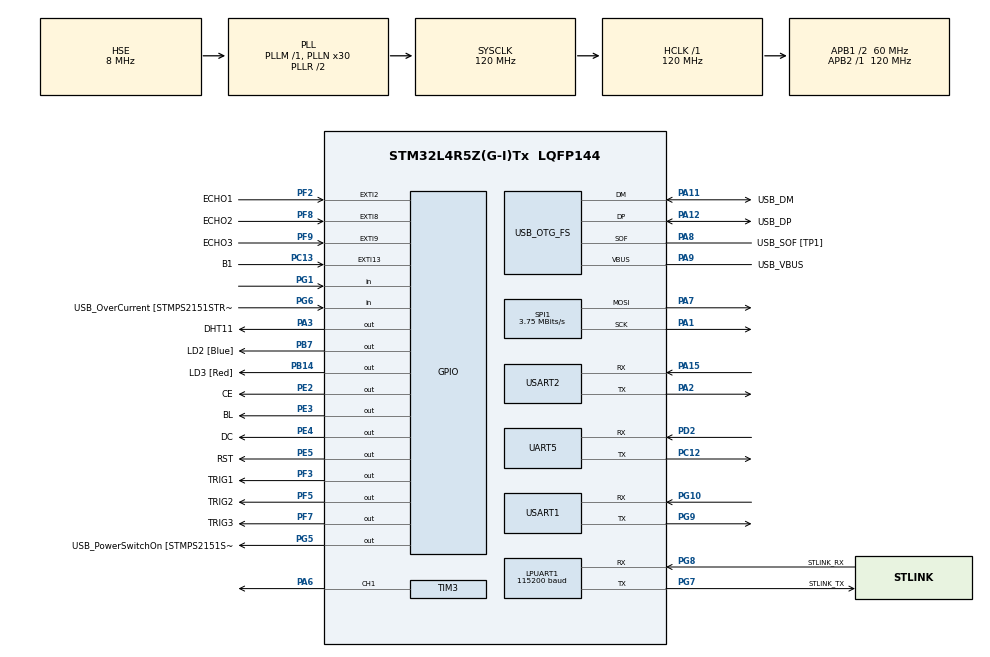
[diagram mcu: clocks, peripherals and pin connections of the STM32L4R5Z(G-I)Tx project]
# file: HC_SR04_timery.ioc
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FREERTOS.Tasks01=HC_SR04,0,128,hc_sr04_measure,Default,NULL,Dynamic,NULL,NULL;LCD_buzzer,-3,128,display_pii,Default,NULL,Dynamic,NULL,NULL;Buzzer,-3,128,buzzer_work,Default,NULL,Dynamic,NULL,NULL;DHT11,2,128,dht11_measure,Default,NULL,Dynamic,NULL,NULL
LPUART1.BaudRate=115200
LPUART1.WordLength=UART_WORDLENGTH_8B
Mcu.Family=STM32L4
Mcu.Name=STM32L4R5Z(G-I)Tx
Mcu.Package=LQFP144
NVIC.PriorityGroup=NVIC_PRIORITYGROUP_4
NVIC.TIM6_DAC_IRQn=true\:0\:0\:false\:false\:true\:false\:false\:true
NVIC.TIM7_IRQn=true\:0\:0\:false\:false\:true\:true\:true\:true
NVIC.TimeBase=TIM6_DAC_IRQn
NVIC.TimeBaseIP=TIM6
PA1.Mode=TX_Only_Simplex_Unidirect_Master
PA1.Signal=SPI1_SCK
PA10.GPIO_Label=USB_ID
PA10.Signal=USB_OTG_FS_ID
PA11.GPIO_Label=USB_DM
PA11.Mode=Device_Only
PA11.Signal=USB_OTG_FS_DM
PA12.GPIO_Label=USB_DP
PA12.Mode=Device_Only
PA12.Signal=USB_OTG_FS_DP
PA13\ (JTMS/SWDIO).GPIO_Label=TMS
PA13\ (JTMS/SWDIO).Mode=Trace_Asynchronous_SW
PA13\ (JTMS/SWDIO).Signal=SYS_JTMS-SWDIO
PA14\ (JTCK/SWCLK).GPIO_Label=TCK
PA14\ (JTCK/SWCLK).Mode=Trace_Asynchronous_SW
PA14\ (JTCK/SWCLK).Signal=SYS_JTCK-SWCLK
PA15\ (JTDI).Mode=Asynchronous
PA15\ (JTDI).Signal=USART2_RX
PA2.Mode=Asynchronous
PA2.Signal=USART2_TX
PA3.GPIO_Label=DHT11
PA3.Signal=GPIO_Output
PA6.Signal=S_TIM3_CH1
PA7.Mode=TX_Only_Simplex_Unidirect_Master
PA7.Signal=SPI1_MOSI
PA8.GPIO_Label=USB_SOF [TP1]
PA8.Mode=Activate_SOF_FS
PA8.Signal=USB_OTG_FS_SOF
PA9.GPIO_Label=USB_VBUS
PA9.Mode=Activate_VBUS
PA9.Signal=USB_OTG_FS_VBUS
PB14.GPIO_Label=LD3 [Red]
PB14.Signal=GPIO_Output
PB3\ (JTDO/TRACESWO).GPIO_Label=SWO
PB3\ (JTDO/TRACESWO).Mode=Trace_Asynchronous_SW
PB3\ (JTDO/TRACESWO).Signal=SYS_JTDO-SWO
PB7.GPIO_Label=LD2 [Blue]
PB7.Signal=GPIO_Output
PC12.Mode=Asynchronous
PC12.Signal=UART5_TX
PC13.GPIO_Label=B1
PC13.Signal=GPXTI13
PC14-OSC32_IN\ (PC14).Mode=LSE-External-Oscillator
PC14-OSC32_IN\ (PC14).Signal=RCC_OSC32_IN
PC15-OSC32_OUT\ (PC15).Mode=LSE-External-Oscillator
PC15-OSC32_OUT\ (PC15).Signal=RCC_OSC32_OUT
PD2.Mode=Asynchronous
PD2.Signal=UART5_RX
PD8.GPIO_Label=STLK_RX [STM32F103CBT6_PA3]
PD8.Signal=USART3_TX
PD9.GPIO_Label=STLK_TX [STM32F103CBT6_PA2]
PD9.Signal=USART3_RX
PE2.GPIO_Label=CE
PE2.Signal=GPIO_Output
PE3.GPIO_Label=BL
PE3.Signal=GPIO_Output
PE4.GPIO_Label=DC
PE4.Signal=GPIO_Output
PE5.GPIO_Label=RST
PE5.Signal=GPIO_Output
PF2.GPIO_Label=ECHO1
PF2.Signal=GPXTI2
PF3.GPIO_Label=TRIG1
PF3.Signal=GPIO_Output
PF5.GPIO_Label=TRIG2
PF5.Signal=GPIO_Output
PF7.GPIO_Label=TRIG3
PF7.Signal=GPIO_Output
PF8.GPIO_Label=ECHO2
PF8.Signal=GPXTI8
PF9.GPIO_Label=ECHO3
PF9.Signal=GPXTI9
PG1.Signal=GPIO_Input
PG10.Mode=Asynchronous
PG10.Signal=USART1_RX
PG5.GPIO_Label=USB_PowerSwitchOn [STMPS2151STR_EN]
PG5.Signal=GPIO_Output
PG6.GPIO_Label=USB_OverCurrent [STMPS2151STR_FAULT]
PG6.Signal=GPIO_Input
PG7.GPIO_Label=STLINK_TX
PG7.Mode=Asynchronous
PG7.Signal=LPUART1_TX
PG8.GPIO_Label=STLINK_RX
PG8.Mode=Asynchronous
PG8.Signal=LPUART1_RX
PG9.Mode=Asynchronous
PG9.Signal=USART1_TX
PH0-OSC_IN\ (PH0).Mode=HSE-External-Clock-Source
PH0-OSC_IN\ (PH0).Signal=RCC_OSC_IN
PH1-OSC_OUT\ (PH1).Signal=RCC_OSC_OUT
ProjectManager.HeapSize=0x200
ProjectManager.StackSize=0x400
ProjectManager.TargetToolchain=STM32CubeIDE
RCC.48MHZClocksFreq_Value=24000000
RCC.ADCFreq_Value=48000000
RCC.AHBFreq_Value=120000000
RCC.APB1CLKDivider=RCC_HCLK_DIV2
RCC.APB1Freq_Value=60000000
RCC.APB1TimFreq_Value=120000000
RCC.APB2Freq_Value=120000000
RCC.APB2TimFreq_Value=120000000
RCC.CortexFreq_Value=120000000
RCC.HCLKFreq_Value=120000000
RCC.HSE_VALUE=8000000
RCC.HSI48_VALUE=48000000
RCC.HSI_VALUE=16000000
RCC.MSI_VALUE=4000000
RCC.PLLMUL=RCC_PLL_MUL9
RCC.PLLN=30
RCC.PLLSAI1N=12
RCC.PLLSourceVirtual=RCC_PLLSOURCE_HSE
RCC.PRESCALERUSB=RCC_USBCLKSOURCE_PLL_DIV1_5
RCC.SYSCLKFreq_VALUE=120000000
RCC.SYSCLKSource=RCC_SYSCLKSOURCE_PLLCLK
RCC.SYSCLKSourceVirtual=RCC_SYSCLKSOURCE_PLLCLK
RCC.USBFreq_Value=48000000
RCC.VCOOutputFreq_Value=240000000
SH.S_TIM3_CH1.0=TIM3_CH1,PWM Generation1 CH1
SPI1.BaudRatePrescaler=SPI_BAUDRATEPRESCALER_32
SPI1.CalculateBaudRate=3.75 MBits/s
SPI1.DataSize=SPI_DATASIZE_8BIT
SPI1.Direction=SPI_DIRECTION_2LINES
SPI1.Mode=SPI_MODE_MASTER
SPI1.VirtualType=VM_MASTER
TIM1.CounterMode=TIM_COUNTERMODE_DOWN
TIM1.Period=29
TIM1.Prescaler=39
TIM16.ClockDivision=TIM_CLOCKDIVISION_DIV1
TIM16.Period=0xffff-1
TIM16.Prescaler=120-1
TIM2.Period=0xffff-1
TIM2.Prescaler=120-1
TIM3.Channel-PWM\ Generation1\ CH1=TIM_CHANNEL_1
TIM3.Period=254
TIM3.Prescaler=1845
TIM7.Period=0
TIM7.Prescaler=120-1
USART1.VirtualMode-Asynchronous=VM_ASYNC
USART2.VirtualMode-Asynchronous=VM_ASYNC
USB_OTG_FS.VirtualMode=Device_Only
VP_FREERTOS_VS_CMSIS_V1.Mode=CMSIS_V1
VP_SYS_VS_tim6.Mode=TIM6
VP_TIM16_VS_ClockSourceINT.Mode=Enable_Timer
VP_TIM1_VS_OPM.Mode=OPM_bit
VP_TIM2_VS_ClockSourceINT.Mode=Internal
VP_TIM3_VS_ClockSourceINT.Mode=Internal
VP_TIM7_VS_ClockSourceINT.Mode=Enable_Timer
board=NUCLEO-L4R5ZI

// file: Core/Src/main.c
/* USER CODE BEGIN Header */
/**
  ******************************************************************************
  * @file           : main.c
  * @brief          : Main program body
  ******************************************************************************
  * @attention
  *
  * <h2><center>&copy; Copyright (c) 2021 STMicroelectronics.
  * All rights reserved.</center></h2>
  *
  * This software component is licensed by ST under BSD 3-Clause license,
  * the "License"; You may not use this file except in compliance with the
  * License. You may obtain a copy of the License at:
  *                        opensource.org/licenses/BSD-3-Clause
  *
  ******************************************************************************
  */
/* USER CODE END Header */
#include "main.h"
#include "cmsis_os.h"

/* USER CODE BEGIN Includes */
#include "hcSensor.h"
#include "lcd.h"
#include "DHT11.h"
#include <stdio.h>
#include <string.h>

/* USER CODE END Includes */

/* USER CODE BEGIN PD */
#define RST_GPIO_Port	GPIOE
#define RESET_Pin		GPIO_PIN_5
#define DC_GPIO_Port	GPIOE
#define DCC_Pin			GPIO_PIN_4
#define BL_GPIO_Port	GPIOE
#define BLL_Pin			GPIO_PIN_3
#define CE_GPIO_Port	GPIOE
#define CEE_Pin			GPIO_PIN_2
/* USER CODE END PD */

/* USER CODE BEGIN PM */
struct lcdConf lcd;

uint64_t mesCenter;
uint64_t mesLeft;
uint64_t mesRight;

uint64_t tmp_mesCenter;
uint64_t tmp_mesLeft;
uint64_t tmp_mesRight;

uint8_t begin;
uint8_t choseSensor;
uint8_t buzzerValue;
uint8_t buzzerCheck;

uint8_t DHT11_calibration;
uint8_t DHT11_tempByte1;
uint16_t DHT11_soundSpeedCali;

/* USER CODE END PM */

UART_HandleTypeDef hlpuart1;
UART_HandleTypeDef huart1;
UART_HandleTypeDef huart5;
UART_HandleTypeDef huart2;

SPI_HandleTypeDef hspi1;

TIM_HandleTypeDef htim1;
TIM_HandleTypeDef htim2;
TIM_HandleTypeDef htim3;
TIM_HandleTypeDef htim7;
TIM_HandleTypeDef htim16;

PCD_HandleTypeDef hpcd_USB_OTG_FS;

osThreadId HC_SR04Handle;
osThreadId LCD_buzzerHandle;
osThreadId BuzzerHandle;
osThreadId DHT11Handle;

void SystemClock_Config(void);
static void MX_GPIO_Init(void);
static void MX_LPUART1_UART_Init(void);
static void MX_USB_OTG_FS_PCD_Init(void);
static void MX_TIM1_Init(void);
static void MX_TIM7_Init(void);
static void MX_SPI1_Init(void);
static void MX_TIM3_Init(void);
static void MX_TIM16_Init(void);
static void MX_TIM2_Init(void);
static void MX_USART2_UART_Init(void);
static void MX_USART1_UART_Init(void);
static void MX_UART5_Init(void);
void hc_sr04_measure(void const * argument);
void display_pii(void const * argument);
void buzzer_work(void const * argument);
void dht11_measure(void const * argument);

/* USER CODE BEGIN 0 */

union wartosc {
	uint8_t temperatura;
	char temperatura2[1];
};

void send_char(char* c)
{
    HAL_UART_Transmit(&hlpuart1, (uint8_t*)c, strlen(c), 1000);
}

void send_char_ready(char c)
{
    HAL_UART_Transmit(&hlpuart1, (uint8_t*)&c, 1, 1000);
}

int __io_putchar(int ch)
{
	if (ch == '\n')
		send_char_ready('\r');
	send_char_ready(ch);
	return ch;
}

/*
void send_char2(char* temp)
{
    //while (__HAL_UART_GET_FLAG(&hlpuart1, UART_FLAG_TXE) == RESET);
	//__HAL_UART_CLEAR_FLAG(&hlpuart1, UART_CLEAR_TXFECF);
    HAL_UART_Transmit(&hlpuart1, (uint8_t*)temp, strlen(temp), 1000);
}

void send_char3(char* c, uint8_t temp)
{
    //while (__HAL_UART_GET_FLAG(&hlpuart1, UART_FLAG_TXE) == RESET);
    HAL_UART_Transmit(&hlpuart1, (uint8_t*)c, strlen(c), 1000);
    HAL_UART_Transmit(&hlpuart1, &temp, 1, 1000);
}*/

/* USER CODE END 0 */

int main(void)
{

  /* MCU Configuration--------------------------------------------------------*/

  /* Reset of all peripherals, Initializes the Flash interface and the Systick. */
  HAL_Init();

  /* Configure the system clock */
  SystemClock_Config();

  /* Initialize all configured peripherals */
  MX_GPIO_Init();
  MX_LPUART1_UART_Init();
  MX_USB_OTG_FS_PCD_Init();
  MX_TIM1_Init();
  MX_TIM7_Init();
  MX_SPI1_Init();
  MX_TIM3_Init();
  MX_TIM16_Init();
  MX_TIM2_Init();
  MX_USART2_UART_Init();
  MX_USART1_UART_Init();
  MX_UART5_Init();
  /* USER CODE BEGIN 2 */

  lcd.spi = &hspi1;
  lcd.rst_port = RST_GPIO_Port;
  lcd.rst_pin = RESET_Pin;
  lcd.dc_port = DC_GPIO_Port;
  lcd.dc_pin = DCC_Pin;
  lcd.bl_port = BL_GPIO_Port;
  lcd.bl_pin = BLL_Pin;
  lcd.ce_port = CE_GPIO_Port;
  lcd.ce_pin = CEE_Pin;

  lcdInit(&lcd);

  /* USER CODE END 2 */

  /* Create the thread(s) */
  /* definition and creation of HC_SR04 */
  osThreadDef(HC_SR04, hc_sr04_measure, osPriorityNormal, 0, 128);
  HC_SR04Handle = osThreadCreate(osThread(HC_SR04), NULL);

  /* definition and creation of LCD_buzzer */
  osThreadDef(LCD_buzzer, display_pii, osPriorityIdle, 0, 128);
  LCD_buzzerHandle = osThreadCreate(osThread(LCD_buzzer), NULL);

  /* definition and creation of Buzzer */
  osThreadDef(Buzzer, buzzer_work, osPriorityIdle, 0, 128);
  BuzzerHandle = osThreadCreate(osThread(Buzzer), NULL);

  /* definition and creation of DHT11 */
  osThreadDef(DHT11, dht11_measure, osPriorityHigh, 0, 128);
  DHT11Handle = osThreadCreate(osThread(DHT11), NULL);

  /* Start scheduler */
  osKernelStart();

  /* We should never get here as control is now taken by the scheduler */
  /* Infinite loop */
  while (1)
  {

  }
}

void SystemClock_Config(void)
{
  RCC_OscInitTypeDef RCC_OscInitStruct = {0};
  RCC_ClkInitTypeDef RCC_ClkInitStruct = {0};
  RCC_PeriphCLKInitTypeDef PeriphClkInit = {0};

  /** Configure the main internal regulator output voltage
  */
  if (HAL_PWREx_ControlVoltageScaling(PWR_REGULATOR_VOLTAGE_SCALE1_BOOST) != HAL_OK)
  {
    Error_Handler();
  }
  /** Initializes the RCC Oscillators according to the specified parameters
  * in the RCC_OscInitTypeDef structure.
  */
  RCC_OscInitStruct.OscillatorType = RCC_OSCILLATORTYPE_HSE;
  RCC_OscInitStruct.HSEState = RCC_HSE_BYPASS;
  RCC_OscInitStruct.PLL.PLLState = RCC_PLL_ON;
  RCC_OscInitStruct.PLL.PLLSource = RCC_PLLSOURCE_HSE;
  RCC_OscInitStruct.PLL.PLLM = 1;
  RCC_OscInitStruct.PLL.PLLN = 30;
  RCC_OscInitStruct.PLL.PLLP = RCC_PLLP_DIV2;
  RCC_OscInitStruct.PLL.PLLQ = RCC_PLLQ_DIV2;
  RCC_OscInitStruct.PLL.PLLR = RCC_PLLR_DIV2;
  if (HAL_RCC_OscConfig(&RCC_OscInitStruct) != HAL_OK)
  {
    Error_Handler();
  }
  /** Initializes the CPU, AHB and APB buses clocks
  */
  RCC_ClkInitStruct.ClockType = RCC_CLOCKTYPE_HCLK|RCC_CLOCKTYPE_SYSCLK
                              |RCC_CLOCKTYPE_PCLK1|RCC_CLOCKTYPE_PCLK2;
  RCC_ClkInitStruct.SYSCLKSource = RCC_SYSCLKSOURCE_PLLCLK;
  RCC_ClkInitStruct.AHBCLKDivider = RCC_SYSCLK_DIV1;
  RCC_ClkInitStruct.APB1CLKDivider = RCC_HCLK_DIV2;
  RCC_ClkInitStruct.APB2CLKDivider = RCC_HCLK_DIV1;

  if (HAL_RCC_ClockConfig(&RCC_ClkInitStruct, FLASH_LATENCY_5) != HAL_OK)
  {
    Error_Handler();
  }
  PeriphClkInit.PeriphClockSelection = RCC_PERIPHCLK_USART1|RCC_PERIPHCLK_USART2
                              |RCC_PERIPHCLK_UART5|RCC_PERIPHCLK_LPUART1
                              |RCC_PERIPHCLK_USB;
  PeriphClkInit.Usart1ClockSelection = RCC_USART1CLKSOURCE_PCLK2;
  PeriphClkInit.Usart2ClockSelection = RCC_USART2CLKSOURCE_PCLK1;
  PeriphClkInit.Uart5ClockSelection = RCC_UART5CLKSOURCE_PCLK1;
  PeriphClkInit.Lpuart1ClockSelection = RCC_LPUART1CLKSOURCE_PCLK1;
  PeriphClkInit.UsbClockSelection = RCC_USBCLKSOURCE_PLLSAI1;
  PeriphClkInit.PLLSAI1.PLLSAI1Source = RCC_PLLSOURCE_HSE;
  PeriphClkInit.PLLSAI1.PLLSAI1M = 1;
  PeriphClkInit.PLLSAI1.PLLSAI1N = 12;
  PeriphClkInit.PLLSAI1.PLLSAI1P = RCC_PLLP_DIV2;
  PeriphClkInit.PLLSAI1.PLLSAI1Q = RCC_PLLQ_DIV2;
  PeriphClkInit.PLLSAI1.PLLSAI1R = RCC_PLLR_DIV2;
  PeriphClkInit.PLLSAI1.PLLSAI1ClockOut = RCC_PLLSAI1_48M2CLK;
  if (HAL_RCCEx_PeriphCLKConfig(&PeriphClkInit) != HAL_OK)
  {
    Error_Handler();
  }
}

static void MX_LPUART1_UART_Init(void)
{

  hlpuart1.Instance = LPUART1;
  hlpuart1.Init.BaudRate = 115200;
  hlpuart1.Init.WordLength = UART_WORDLENGTH_8B;
  hlpuart1.Init.StopBits = UART_STOPBITS_1;
  hlpuart1.Init.Parity = UART_PARITY_NONE;
  hlpuart1.Init.Mode = UART_MODE_TX_RX;
  hlpuart1.Init.HwFlowCtl = UART_HWCONTROL_NONE;
  hlpuart1.Init.OneBitSampling = UART_ONE_BIT_SAMPLE_DISABLE;
  hlpuart1.Init.ClockPrescaler = UART_PRESCALER_DIV1;
  hlpuart1.AdvancedInit.AdvFeatureInit = UART_ADVFEATURE_NO_INIT;
  hlpuart1.FifoMode = UART_FIFOMODE_DISABLE;
  if (HAL_UART_Init(&hlpuart1) != HAL_OK)
  {
    Error_Handler();
  }
  if (HAL_UARTEx_SetTxFifoThreshold(&hlpuart1, UART_TXFIFO_THRESHOLD_1_8) != HAL_OK)
  {
    Error_Handler();
  }
  if (HAL_UARTEx_SetRxFifoThreshold(&hlpuart1, UART_RXFIFO_THRESHOLD_1_8) != HAL_OK)
  {
    Error_Handler();
  }
  if (HAL_UARTEx_DisableFifoMode(&huart1) != HAL_OK)
  {
    Error_Handler();
  }

}

static void MX_UART5_Init(void)
{

  huart5.Instance = UART5;
  huart5.Init.BaudRate = 115200;
  huart5.Init.WordLength = UART_WORDLENGTH_8B;
  huart5.Init.StopBits = UART_STOPBITS_1;
  huart5.Init.Parity = UART_PARITY_NONE;
  huart5.Init.Mode = UART_MODE_TX_RX;
  huart5.Init.HwFlowCtl = UART_HWCONTROL_NONE;
  huart5.Init.OverSampling = UART_OVERSAMPLING_16;
  huart5.Init.OneBitSampling = UART_ONE_BIT_SAMPLE_DISABLE;
  huart5.Init.ClockPrescaler = UART_PRESCALER_DIV1;
  huart5.AdvancedInit.AdvFeatureInit = UART_ADVFEATURE_NO_INIT;
  if (HAL_UART_Init(&huart5) != HAL_OK)
  {
    Error_Handler();
  }
  if (HAL_UARTEx_SetTxFifoThreshold(&huart5, UART_TXFIFO_THRESHOLD_1_8) != HAL_OK)
  {
    Error_Handler();
  }
  if (HAL_UARTEx_SetRxFifoThreshold(&huart5, UART_RXFIFO_THRESHOLD_1_8) != HAL_OK)
  {
    Error_Handler();
  }
  if (HAL_UARTEx_DisableFifoMode(&huart5) != HAL_OK)
  {
    Error_Handler();
  }

}

static void MX_USART1_UART_Init(void)
{

  huart1.Instance = USART1;
  huart1.Init.BaudRate = 115200;
  huart1.Init.WordLength = UART_WORDLENGTH_8B;
  huart1.Init.StopBits = UART_STOPBITS_1;
  huart1.Init.Parity = UART_PARITY_NONE;
  huart1.Init.Mode = UART_MODE_TX_RX;
  huart1.Init.HwFlowCtl = UART_HWCONTROL_NONE;
  huart1.Init.OverSampling = UART_OVERSAMPLING_16;
  huart1.Init.OneBitSampling = UART_ONE_BIT_SAMPLE_DISABLE;
  huart1.Init.ClockPrescaler = UART_PRESCALER_DIV1;
  huart1.AdvancedInit.AdvFeatureInit = UART_ADVFEATURE_NO_INIT;
  if (HAL_UART_Init(&huart1) != HAL_OK)
  {
    Error_Handler();
  }
  if (HAL_UARTEx_SetTxFifoThreshold(&huart1, UART_TXFIFO_THRESHOLD_1_8) != HAL_OK)
  {
    Error_Handler();
  }
  if (HAL_UARTEx_SetRxFifoThreshold(&huart1, UART_RXFIFO_THRESHOLD_1_8) != HAL_OK)
  {
    Error_Handler();
  }
  if (HAL_UARTEx_DisableFifoMode(&huart1) != HAL_OK)
  {
    Error_Handler();
  }

}

static void MX_USART2_UART_Init(void)
{

  huart2.Instance = USART2;
  huart2.Init.BaudRate = 115200;
  huart2.Init.WordLength = UART_WORDLENGTH_8B;
  huart2.Init.StopBits = UART_STOPBITS_1;
  huart2.Init.Parity = UART_PARITY_NONE;
  huart2.Init.Mode = UART_MODE_TX_RX;
  huart2.Init.HwFlowCtl = UART_HWCONTROL_NONE;
  huart2.Init.OverSampling = UART_OVERSAMPLING_16;
  huart2.Init.OneBitSampling = UART_ONE_BIT_SAMPLE_DISABLE;
  huart2.Init.ClockPrescaler = UART_PRESCALER_DIV1;
  huart2.AdvancedInit.AdvFeatureInit = UART_ADVFEATURE_NO_INIT;
  if (HAL_UART_Init(&huart2) != HAL_OK)
  {
    Error_Handler();
  }
  if (HAL_UARTEx_SetTxFifoThreshold(&huart2, UART_TXFIFO_THRESHOLD_1_8) != HAL_OK)
  {
    Error_Handler();
  }
  if (HAL_UARTEx_SetRxFifoThreshold(&huart2, UART_RXFIFO_THRESHOLD_1_8) != HAL_OK)
  {
    Error_Handler();
  }
  if (HAL_UARTEx_DisableFifoMode(&huart2) != HAL_OK)
  {
    Error_Handler();
  }

}

static void MX_SPI1_Init(void)
{

  /* SPI1 parameter configuration*/
  hspi1.Instance = SPI1;
  hspi1.Init.Mode = SPI_MODE_MASTER;
  hspi1.Init.Direction = SPI_DIRECTION_2LINES;
  hspi1.Init.DataSize = SPI_DATASIZE_8BIT;
  hspi1.Init.CLKPolarity = SPI_POLARITY_LOW;
  hspi1.Init.CLKPhase = SPI_PHASE_1EDGE;
  hspi1.Init.NSS = SPI_NSS_SOFT;
  hspi1.Init.BaudRatePrescaler = SPI_BAUDRATEPRESCALER_32;
  hspi1.Init.FirstBit = SPI_FIRSTBIT_MSB;
  hspi1.Init.TIMode = SPI_TIMODE_DISABLE;
  hspi1.Init.CRCCalculation = SPI_CRCCALCULATION_DISABLE;
  hspi1.Init.CRCPolynomial = 7;
  hspi1.Init.CRCLength = SPI_CRC_LENGTH_DATASIZE;
  hspi1.Init.NSSPMode = SPI_NSS_PULSE_ENABLE;
  if (HAL_SPI_Init(&hspi1) != HAL_OK)
  {
    Error_Handler();
  }

}

static void MX_TIM1_Init(void)
{

  htim1.Instance = TIM1;
  htim1.Init.Prescaler = 39;
  htim1.Init.CounterMode = TIM_COUNTERMODE_DOWN;
  htim1.Init.Period = 29;
  htim1.Init.ClockDivision = TIM_CLOCKDIVISION_DIV1;
  htim1.Init.RepetitionCounter = 0;
  htim1.Init.AutoReloadPreload = TIM_AUTORELOAD_PRELOAD_DISABLE;
  if (HAL_TIM_OnePulse_Init(&htim1, TIM_OPMODE_SINGLE) != HAL_OK)
  {
    Error_Handler();
  }

}

static void MX_TIM2_Init(void)
{

  TIM_ClockConfigTypeDef sClockSourceConfig = {0};
  TIM_MasterConfigTypeDef sMasterConfig = {0};

  htim2.Instance = TIM2;
  htim2.Init.Prescaler = 120-1;
  htim2.Init.CounterMode = TIM_COUNTERMODE_UP;
  htim2.Init.Period = 0xffff-1;
  htim2.Init.ClockDivision = TIM_CLOCKDIVISION_DIV1;
  htim2.Init.AutoReloadPreload = TIM_AUTORELOAD_PRELOAD_DISABLE;
  if (HAL_TIM_Base_Init(&htim2) != HAL_OK)
  {
    Error_Handler();
  }
  sClockSourceConfig.ClockSource = TIM_CLOCKSOURCE_INTERNAL;
  if (HAL_TIM_ConfigClockSource(&htim2, &sClockSourceConfig) != HAL_OK)
  {
    Error_Handler();
  }
  sMasterConfig.MasterOutputTrigger = TIM_TRGO_RESET;
  sMasterConfig.MasterSlaveMode = TIM_MASTERSLAVEMODE_DISABLE;
  if (HAL_TIMEx_MasterConfigSynchronization(&htim2, &sMasterConfig) != HAL_OK)
  {
    Error_Handler();
  }

}

static void MX_TIM3_Init(void)
{

  TIM_ClockConfigTypeDef sClockSourceConfig = {0};
  TIM_MasterConfigTypeDef sMasterConfig = {0};
  TIM_OC_InitTypeDef sConfigOC = {0};

  htim3.Instance = TIM3;
  htim3.Init.Prescaler = 1845;
  htim3.Init.CounterMode = TIM_COUNTERMODE_UP;
  htim3.Init.Period = 254;
  htim3.Init.ClockDivision = TIM_CLOCKDIVISION_DIV1;
  htim3.Init.AutoReloadPreload = TIM_AUTORELOAD_PRELOAD_DISABLE;
  if (HAL_TIM_Base_Init(&htim3) != HAL_OK)
  {
    Error_Handler();
  }
  sClockSourceConfig.ClockSource = TIM_CLOCKSOURCE_INTERNAL;
  if (HAL_TIM_ConfigClockSource(&htim3, &sClockSourceConfig) != HAL_OK)
  {
    Error_Handler();
  }
  if (HAL_TIM_PWM_Init(&htim3) != HAL_OK)
  {
    Error_Handler();
  }
  sMasterConfig.MasterOutputTrigger = TIM_TRGO_RESET;
  sMasterConfig.MasterSlaveMode = TIM_MASTERSLAVEMODE_DISABLE;
  if (HAL_TIMEx_MasterConfigSynchronization(&htim3, &sMasterConfig) != HAL_OK)
  {
    Error_Handler();
  }
  sConfigOC.OCMode = TIM_OCMODE_PWM1;
  sConfigOC.Pulse = 0;
  sConfigOC.OCPolarity = TIM_OCPOLARITY_HIGH;
  sConfigOC.OCFastMode = TIM_OCFAST_DISABLE;
  if (HAL_TIM_PWM_ConfigChannel(&htim3, &sConfigOC, TIM_CHANNEL_1) != HAL_OK)
  {
    Error_Handler();
  }
  HAL_TIM_MspPostInit(&htim3);

}

static void MX_TIM7_Init(void)
{

  TIM_MasterConfigTypeDef sMasterConfig = {0};

  htim7.Instance = TIM7;
  htim7.Init.Prescaler = 120-1;
  htim7.Init.CounterMode = TIM_COUNTERMODE_UP;
  htim7.Init.Period = 0;
  htim7.Init.AutoReloadPreload = TIM_AUTORELOAD_PRELOAD_DISABLE;
  if (HAL_TIM_Base_Init(&htim7) != HAL_OK)
  {
    Error_Handler();
  }
  sMasterConfig.MasterOutputTrigger = TIM_TRGO_RESET;
  sMasterConfig.MasterSlaveMode = TIM_MASTERSLAVEMODE_DISABLE;
  if (HAL_TIMEx_MasterConfigSynchronization(&htim7, &sMasterConfig) != HAL_OK)
  {
    Error_Handler();
  }

}

static void MX_TIM16_Init(void)
{

  htim16.Instance = TIM16;
  htim16.Init.Prescaler = 120-1;
  htim16.Init.CounterMode = TIM_COUNTERMODE_UP;
  htim16.Init.Period = 0xffff-1;
  htim16.Init.ClockDivision = TIM_CLOCKDIVISION_DIV1;
  htim16.Init.RepetitionCounter = 0;
  htim16.Init.AutoReloadPreload = TIM_AUTORELOAD_PRELOAD_DISABLE;
  if (HAL_TIM_Base_Init(&htim16) != HAL_OK)
  {
    Error_Handler();
  }

}

static void MX_USB_OTG_FS_PCD_Init(void)
{

  hpcd_USB_OTG_FS.Instance = USB_OTG_FS;
  hpcd_USB_OTG_FS.Init.dev_endpoints = 6;
  hpcd_USB_OTG_FS.Init.phy_itface = PCD_PHY_EMBEDDED;
  hpcd_USB_OTG_FS.Init.Sof_enable = ENABLE;
  hpcd_USB_OTG_FS.Init.low_power_enable = DISABLE;
  hpcd_USB_OTG_FS.Init.lpm_enable = DISABLE;
  hpcd_USB_OTG_FS.Init.battery_charging_enable = ENABLE;
  hpcd_USB_OTG_FS.Init.use_dedicated_ep1 = DISABLE;
  hpcd_USB_OTG_FS.Init.vbus_sensing_enable = ENABLE;
  if (HAL_PCD_Init(&hpcd_USB_OTG_FS) != HAL_OK)
  {
    Error_Handler();
  }

}

static void MX_GPIO_Init(void)
{
  GPIO_InitTypeDef GPIO_InitStruct = {0};

  /* GPIO Ports Clock Enable */
  __HAL_RCC_GPIOE_CLK_ENABLE();
  __HAL_RCC_GPIOC_CLK_ENABLE();
  __HAL_RCC_GPIOF_CLK_ENABLE();
  __HAL_RCC_GPIOH_CLK_ENABLE();
  __HAL_RCC_GPIOA_CLK_ENABLE();
  __HAL_RCC_GPIOG_CLK_ENABLE();
  __HAL_RCC_GPIOB_CLK_ENABLE();
  __HAL_RCC_GPIOD_CLK_ENABLE();
  HAL_PWREx_EnableVddIO2();

  /*Configure GPIO pin Output Level */
  HAL_GPIO_WritePin(GPIOE, CE_Pin|BL_Pin|DC_Pin|RST_Pin, GPIO_PIN_RESET);

  /*Configure GPIO pin Output Level */
  HAL_GPIO_WritePin(GPIOF, TRIG1_Pin|TRIG2_Pin|TRIG3_Pin, GPIO_PIN_RESET);

  /*Configure GPIO pin Output Level */
  HAL_GPIO_WritePin(DHT11_GPIO_Port, DHT11_Pin, GPIO_PIN_RESET);

  /*Configure GPIO pin Output Level */
  HAL_GPIO_WritePin(GPIOB, LD3_Pin|LD2_Pin, GPIO_PIN_RESET);

  /*Configure GPIO pin Output Level */
  HAL_GPIO_WritePin(USB_PowerSwitchOn_GPIO_Port, USB_PowerSwitchOn_Pin, GPIO_PIN_RESET);

  /*Configure GPIO pins : CE_Pin BL_Pin DC_Pin RST_Pin */
  GPIO_InitStruct.Pin = CE_Pin|BL_Pin|DC_Pin|RST_Pin;
  GPIO_InitStruct.Mode = GPIO_MODE_OUTPUT_PP;
  GPIO_InitStruct.Pull = GPIO_NOPULL;
  GPIO_InitStruct.Speed = GPIO_SPEED_FREQ_LOW;
  HAL_GPIO_Init(GPIOE, &GPIO_InitStruct);

  /*Configure GPIO pin : B1_Pin */
  GPIO_InitStruct.Pin = B1_Pin;
  GPIO_InitStruct.Mode = GPIO_MODE_IT_RISING;
  GPIO_InitStruct.Pull = GPIO_NOPULL;
  HAL_GPIO_Init(B1_GPIO_Port, &GPIO_InitStruct);

  /*Configure GPIO pins : ECHO1_Pin ECHO2_Pin ECHO3_Pin */
  GPIO_InitStruct.Pin = ECHO1_Pin|ECHO2_Pin|ECHO3_Pin;
  GPIO_InitStruct.Mode = GPIO_MODE_IT_RISING;
  GPIO_InitStruct.Pull = GPIO_NOPULL;
  HAL_GPIO_Init(GPIOF, &GPIO_InitStruct);

  /*Configure GPIO pins : TRIG1_Pin TRIG2_Pin TRIG3_Pin */
  GPIO_InitStruct.Pin = TRIG1_Pin|TRIG2_Pin|TRIG3_Pin;
  GPIO_InitStruct.Mode = GPIO_MODE_OUTPUT_PP;
  GPIO_InitStruct.Pull = GPIO_NOPULL;
  GPIO_InitStruct.Speed = GPIO_SPEED_FREQ_LOW;
  HAL_GPIO_Init(GPIOF, &GPIO_InitStruct);

  /*Configure GPIO pin : DHT11_Pin */
  GPIO_InitStruct.Pin = DHT11_Pin;
  GPIO_InitStruct.Mode = GPIO_MODE_OUTPUT_PP;
  GPIO_InitStruct.Pull = GPIO_NOPULL;
  GPIO_InitStruct.Speed = GPIO_SPEED_FREQ_LOW;
  HAL_GPIO_Init(DHT11_GPIO_Port, &GPIO_InitStruct);

  /*Configure GPIO pins : PG1 USB_OverCurrent_Pin */
  GPIO_InitStruct.Pin = GPIO_PIN_1|USB_OverCurrent_Pin;
  GPIO_InitStruct.Mode = GPIO_MODE_INPUT;
  GPIO_InitStruct.Pull = GPIO_NOPULL;
  HAL_GPIO_Init(GPIOG, &GPIO_InitStruct);

  /*Configure GPIO pins : LD3_Pin LD2_Pin */
  GPIO_InitStruct.Pin = LD3_Pin|LD2_Pin;
  GPIO_InitStruct.Mode = GPIO_MODE_OUTPUT_PP;
  GPIO_InitStruct.Pull = GPIO_NOPULL;
  GPIO_InitStruct.Speed = GPIO_SPEED_FREQ_LOW;
  HAL_GPIO_Init(GPIOB, &GPIO_InitStruct);

  /*Configure GPIO pins : STLK_RX_Pin STLK_TX_Pin */
  GPIO_InitStruct.Pin = STLK_RX_Pin|STLK_TX_Pin;
  GPIO_InitStruct.Mode = GPIO_MODE_AF_PP;
  GPIO_InitStruct.Pull = GPIO_NOPULL;
  GPIO_InitStruct.Speed = GPIO_SPEED_FREQ_VERY_HIGH;
  GPIO_InitStruct.Alternate = GPIO_AF7_USART3;
  HAL_GPIO_Init(GPIOD, &GPIO_InitStruct);

  /*Configure GPIO pin : USB_PowerSwitchOn_Pin */
  GPIO_InitStruct.Pin = USB_PowerSwitchOn_Pin;
  GPIO_InitStruct.Mode = GPIO_MODE_OUTPUT_PP;
  GPIO_InitStruct.Pull = GPIO_NOPULL;
  GPIO_InitStruct.Speed = GPIO_SPEED_FREQ_LOW;
  HAL_GPIO_Init(USB_PowerSwitchOn_GPIO_Port, &GPIO_InitStruct);

}

void hc_sr04_measure(void const * argument)
{
  /* USER CODE BEGIN 5 */
	choseSensor = 1;

  /* Infinite loop */
  for(;;)
  {

	HAL_GPIO_TogglePin(GPIOB, GPIO_PIN_7);
	triggerMeasureCenter();
	switch(choseSensor)
	{
	case 1:
		tmp_mesCenter = triggerMeasureCenter();
		if(((mesCenter != 0) && (mesCenter > tmp_mesCenter)) || (mesCenter == 0))
		{
			mesCenter = tmp_mesCenter;
		}
		choseSensor = 2;
		break;
	case 2:
		tmp_mesLeft = triggerMeasureLeft();
		if(((mesLeft != 0) && (mesLeft > tmp_mesLeft)) || (mesLeft == 0))
		{
			mesLeft = tmp_mesLeft;
		}
		choseSensor = 3;
		break;
	case 3:
		tmp_mesRight = triggerMeasureRight();
		if(((mesRight != 0) && (mesRight > tmp_mesRight)) || (mesRight == 0))
		{
			mesRight = tmp_mesRight;
		}
		choseSensor = 1;
		break;
	default:
		choseSensor = 1;
		break;
	}

    osDelay(20);

    //osDelay(10000);

  }
  /* USER CODE END 5 */
}

void display_pii(void const * argument)
{
  /* USER CODE BEGIN display_pii */

  /* Infinite loop */
  for(;;)
  {

	if(begin == 0)
	{
		lcdWelcome(lcd);
		begin = 1;
		osDelay(4000);
		lcdClear(lcd);
		lcdClearBuffer(&lcd);
	}

	HAL_GPIO_TogglePin(GPIOB, GPIO_PIN_14);
	display_driver(mesLeft, mesCenter, mesRight, lcd);

    mesLeft = 0;
    mesCenter = 0;
    mesRight = 0;
    osDelay(300);

    //osDelay(10000);

  }
  /* USER CODE END display_pii */
}

void buzzer_work(void const * argument)
{
  /* USER CODE BEGIN buzzer_work */
  /* Infinite loop */
  for(;;)
  {
	  buzzerValue = mesCenter;
	  if(mesLeft < buzzerValue)
	  {
		  buzzerValue = mesLeft;
	  }
	  if(mesRight < buzzerValue)
	  {
		  buzzerValue = mesRight;
	  }
	  buzzerDriver(buzzerValue);

	  //osDelay(10000);

  }
  /* USER CODE END buzzer_work */
}

void dht11_measure(void const * argument)
{
  /* USER CODE BEGIN dht11_measure */
	char a[16] = "Temperatura: ";
	union wartosc p1;
	union wartosc p2;

	__HAL_UART_ENABLE(&hlpuart1);
  /* Infinite loop */

  for(;;)
  {
	osDelay(100);
	DHT11_tempByte1 = measureDHT11();
	DHT11_soundSpeedCali = soundSpeedCalibration(DHT11_tempByte1);
	osDelay(100);
	//p1.temperatura = DHT11_tempByte1;
	//p2.temperatura = DHT11_tempByte1;
	//strcat(a, p1.temperatura2);

	//send_char2("\r\n22\r\n");
	//send_char2(&aa);
	//send_char2("\r\nHello World\r\n");

	//send_char3("Temperatura: ", DHT11_tempByte1);

	printf("temperatura: %d  predkosc: %d\r\n", DHT11_tempByte1, DHT11_soundSpeedCali);
    osDelay(3000);
  }
  /* USER CODE END dht11_measure */
}

void HAL_TIM_PeriodElapsedCallback(TIM_HandleTypeDef *htim)
{
  if (htim->Instance == TIM6) {
    HAL_IncTick();
  }
}

void Error_Handler(void)
{
}

/************************ (C) COPYRIGHT STMicroelectronics *****END OF FILE****/
